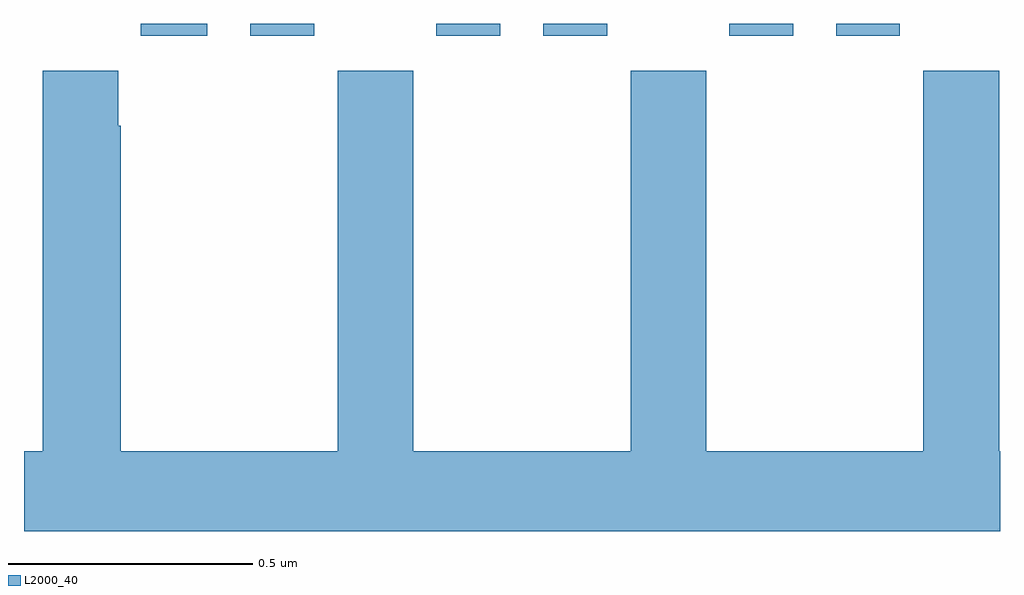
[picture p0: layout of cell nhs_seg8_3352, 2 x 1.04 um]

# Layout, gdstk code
import gdstk
lib = gdstk.Library(unit=1e-6, precision=1e-09)
def R(c, l, rs):  # rectangles x0, y0, x1, y1
    for r in rs: c.add(gdstk.rectangle(r[:2], r[2:], *l))
def P(c, l, *ps):  # polygons
    for p in ps: c.add(gdstk.Polygon(p, *l))
L2000_40 = (2000, 40)

nhs_seg8_3352 = lib.new_cell('nhs_seg8_3352')
R(nhs_seg8_3352, L2000_40, [(156.239,1090.875,156.376,1090.9), (156.464,1090.875,156.595,1090.9), (156.845,1090.875,156.976,1090.9), (157.064,1090.875,157.195,1090.9), (157.445,1090.875,157.576,1090.9), (157.664,1090.875,157.795,1090.9)])
P(nhs_seg8_3352, L2000_40, [(158,1090.024),(157.998,1090.024),(157.998,1090.804),(157.843,1090.804),(157.843,1090.024),(157.398,1090.024),(157.398,1090.804),(157.243,1090.804),(157.243,1090.024),(156.798,1090.024),(156.798,1090.804),(156.643,1090.804),(156.643,1090.024),(156.198,1090.024),(156.198,1090.691),(156.193,1090.691),(156.193,1090.804),(156.038,1090.804),(156.038,1090.024),(156,1090.024),(156,1089.86),(158,1089.86)])

lib.write_gds('nhs_seg8_3352.gds')
